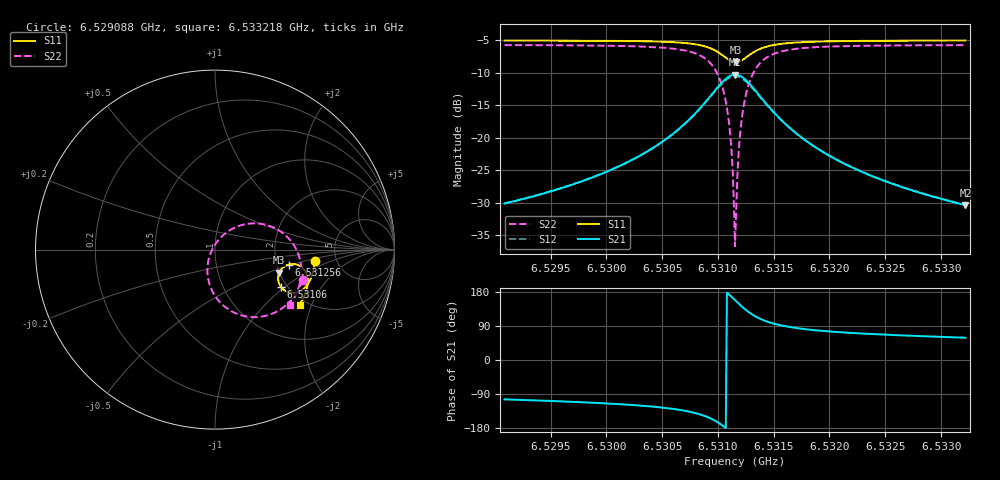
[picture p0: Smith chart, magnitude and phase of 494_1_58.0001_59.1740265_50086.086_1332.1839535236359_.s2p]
#  HZ  S  RI  R  50.00
! Rohde & Schwarz Vector Network Analyzer
! Rohde-Schwarz,ZNB20-2Port,1311601062101988,3.16
! Created: UTC 3/21/2024, 1:12:23 AM
! freq[Hz]  re:S11  im:S11  re:S21  im:S21  re:S12  im:S12  re:S22  im:S22
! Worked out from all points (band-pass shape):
!   401 points, 6.529088 GHz to 6.533218 GHz, reference 50 ohm
!   highest |S21| = -10.25 dB at 6.531153 GHz (marker M1); lowest = -30.4 dB at 6.533218 GHz (marker M2)
!   |S21| within 3 dB of the highest: 6.530948 GHz to 6.531361 GHz (412.5 kHz wide, 0.00632 % of centre)
!   lowest |S11| = -8.4 dB at 6.531163 GHz (marker M3), VSWR 2.23, Z = 99.8 - j30 ohm
!   |S11| at or under -10 dB: nowhere
!   |S22| runs from -36.7 to -5.7 dB; largest |S21 - S12| = 0.012
!   S11 on the Smith chart (normalised r, x): 6.529088 GHz: 3.42, -0.66; 6.53106 GHz: 1.85, -0.93; 6.531256 GHz: 2.33, -0.47; 6.533218 GHz: 1.82, -1.64
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6.5290875e9  0.557 -0.066  -0.00754 -0.0302  -0.00806 -0.0301  0.4897 -0.1696
6.5297794e9  0.5461 -0.1233  -0.0169 -0.0429  -0.018 -0.0427  0.4589 -0.2342
6.5304713e9  0.5172 -0.1916  -0.0509 -0.0737  -0.0528 -0.0724  0.377 -0.3244
6.5307088e9  0.4897 -0.2213  -0.0905 -0.0928  -0.0933 -0.0898  0.2966 -0.3649
6.5308844e9  0.446 -0.2401  -0.1587 -0.0989  -0.161 -0.0926  0.1703 -0.3719
6.5309877e9  0.4013 -0.2343  -0.228 -0.0722  -0.2273 -0.0628  0.0524 -0.3165
6.5310599e9  0.3666 -0.2066  -0.2792 -0.0135  -0.2733 -0.00375  -0.0251 -0.2094
6.5311013e9  0.3539 -0.1785  -0.2951 0.0394  -0.2861 0.0474  -0.0427 -0.1186
6.5311219e9  0.3519 -0.162  -0.2955 0.0695  -0.2854 0.0759  -0.0386 -0.069
6.5311322e9  0.3521 -0.1537  -0.2935 0.0847  -0.283 0.0903  -0.0329 -0.0443
6.5311426e9  0.3532 -0.1451  -0.29 0.1001  -0.2791 0.1044  -0.0247 -0.0197
6.5311529e9  0.3552 -0.1368  -0.2851 0.115  -0.2741 0.1183  -0.0141 0.00378
6.5311632e9  0.3582 -0.1286  -0.2784 0.1292  -0.2676 0.1316  -0.00112 0.0263
6.5311735e9  0.3622 -0.121  -0.2706 0.1429  -0.2599 0.1442  0.0139 0.0471
6.5311942e9  0.3721 -0.1073  -0.2515 0.1668  -0.2414 0.1666  0.0491 0.0838
6.5312045e9  0.3777 -0.1012  -0.2405 0.1771  -0.2309 0.1762  0.0688 0.0988
6.5312562e9  0.4111 -0.0831  -0.1797 0.2091  -0.1731 0.206  0.1742 0.1424
6.5313284e9  0.4543 -0.0835  -0.104 0.2107  -0.1007 0.2077  0.3017 0.1326
6.5314317e9  0.4917 -0.1063  -0.0391 0.1794  -0.0376 0.1776  0.4076 0.0652
6.5318448e9  0.5171 -0.1866  0.0163 0.0863  0.0172 0.0859  0.4809 -0.1279
6.5325367e9  0.4975 -0.2574  0.018 0.0413  0.0188 0.0411  0.4527 -0.245
6.5332182e9  0.4708 -0.3082  0.0157 0.0258  0.0163 0.0257  0.418 -0.3059
